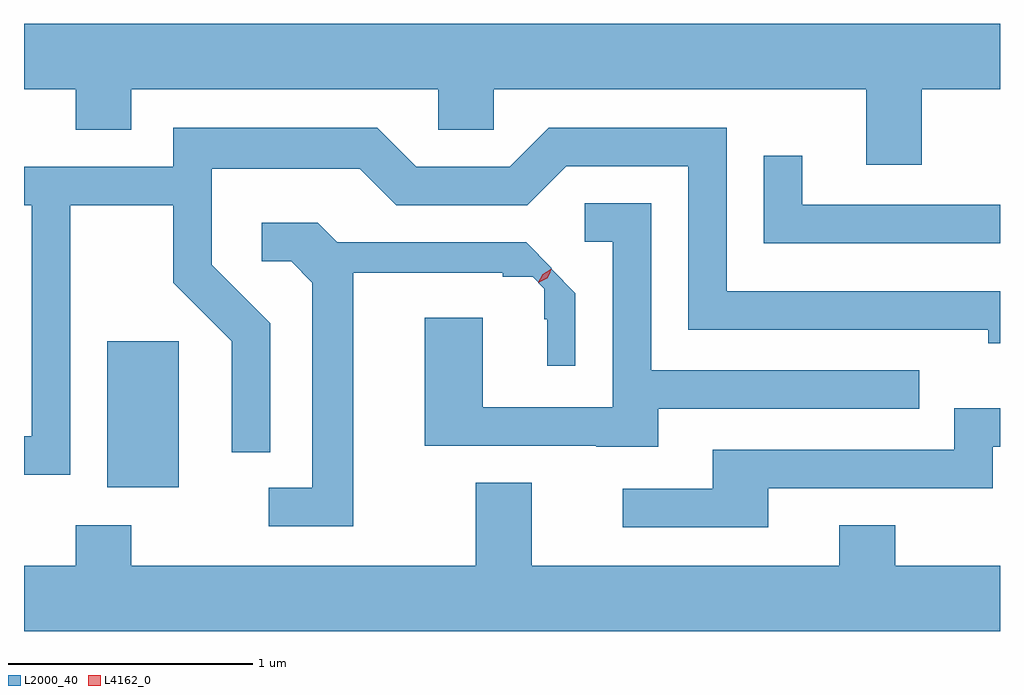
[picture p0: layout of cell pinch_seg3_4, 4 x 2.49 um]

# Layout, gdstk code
import gdstk
lib = gdstk.Library(unit=1e-6, precision=1e-09)
def R(c, l, rs):  # rectangles x0, y0, x1, y1
    for r in rs: c.add(gdstk.rectangle(r[:2], r[2:], *l))
def P(c, l, *ps):  # polygons
    for p in ps: c.add(gdstk.Polygon(p, *l))
L2000_40 = (2000, 40)
L4162_0 = (4162, 0)

pinch_seg3_4 = lib.new_cell('pinch_seg3_4')
R(pinch_seg3_4, L2000_40, [(847.931,1242.046,848.224,1242.644)])
P(pinch_seg3_4, L2000_40, [(851.269,1243.676),(851.589,1243.676),(851.589,1243.944),(847.589,1243.944),(847.589,1243.676),(847.801,1243.676),(847.801,1243.511),(848.029,1243.511),(848.029,1243.676),(849.286,1243.676),(849.286,1243.511),(849.514,1243.511),(849.514,1243.676),(851.041,1243.676),(851.041,1243.366),(851.269,1243.366)],
  [(847.779,1243.201),(848.201,1243.201),(848.201,1242.884),(848.441,1242.644),(848.441,1242.188),(848.599,1242.188),(848.599,1242.717),(848.359,1242.957),(848.359,1243.351),(848.964,1243.351),(849.114,1243.201),(849.652,1243.201),(849.812,1243.361),(850.311,1243.361),(850.311,1242.691),(851.541,1242.691),(851.541,1242.636),(851.589,1242.636),(851.589,1242.849),(850.469,1242.849),(850.469,1243.519),(849.739,1243.519),(849.579,1243.359),(849.197,1243.359),(849.037,1243.519),(848.201,1243.519),(848.201,1243.359),(847.589,1243.359),(847.589,1243.201),(847.621,1243.201),(847.621,1242.254),(847.589,1242.254),(847.589,1242.096),(847.779,1242.096)],
  [(851.589,1243.204),(850.779,1243.204),(850.779,1243.403),(850.621,1243.403),(850.621,1243.046),(851.589,1243.046)],
  [(850.189,1242.366),(851.258,1242.366),(851.258,1242.524),(850.159,1242.524),(850.159,1243.209),(849.888,1243.209),(849.888,1243.051),(850.001,1243.051),(850.001,1242.374),(849.469,1242.374),(849.469,1242.739),(849.231,1242.739),(849.231,1242.216),(849.935,1242.216),(849.935,1242.211),(850.189,1242.211)],
  [(848.939,1242.925),(849.551,1242.925),(849.551,1242.907),(849.674,1242.907),(849.722,1242.858),(849.722,1242.733),(849.734,1242.733),(849.734,1242.543),(849.849,1242.543),(849.849,1242.841),(849.75,1242.941),(849.752,1242.943),(849.647,1243.049),(848.872,1243.049),(848.792,1243.129),(848.563,1243.129),(848.563,1242.971),(848.684,1242.971),(848.771,1242.884),(848.771,1242.044),(848.593,1242.044),(848.593,1241.886),(848.939,1241.886)],
  [(850.639,1242.041),(851.559,1242.041),(851.559,1242.211),(851.589,1242.211),(851.589,1242.369),(851.401,1242.369),(851.401,1242.199),(850.411,1242.199),(850.411,1242.039),(850.043,1242.039),(850.043,1241.881),(850.639,1241.881)],
  [(851.589,1241.724),(851.159,1241.724),(851.159,1241.889),(850.931,1241.889),(850.931,1241.724),(849.669,1241.724),(849.669,1242.064),(849.441,1242.064),(849.441,1241.724),(848.029,1241.724),(848.029,1241.889),(847.801,1241.889),(847.801,1241.724),(847.589,1241.724),(847.589,1241.456),(851.589,1241.456)])
P(pinch_seg3_4, L4162_0, [(849.696,1242.884),(849.696,1242.885),(849.715,1242.918),(849.748,1242.938),(849.749,1242.938),(849.749,1242.937),(849.73,1242.904),(849.697,1242.884)],
  [(849.704,1242.887),(849.704,1242.888),(849.719,1242.915),(849.747,1242.929),(849.748,1242.929),(849.748,1242.929),(849.733,1242.901),(849.705,1242.887)])

lib.write_gds('pinch_seg3_4.gds')
